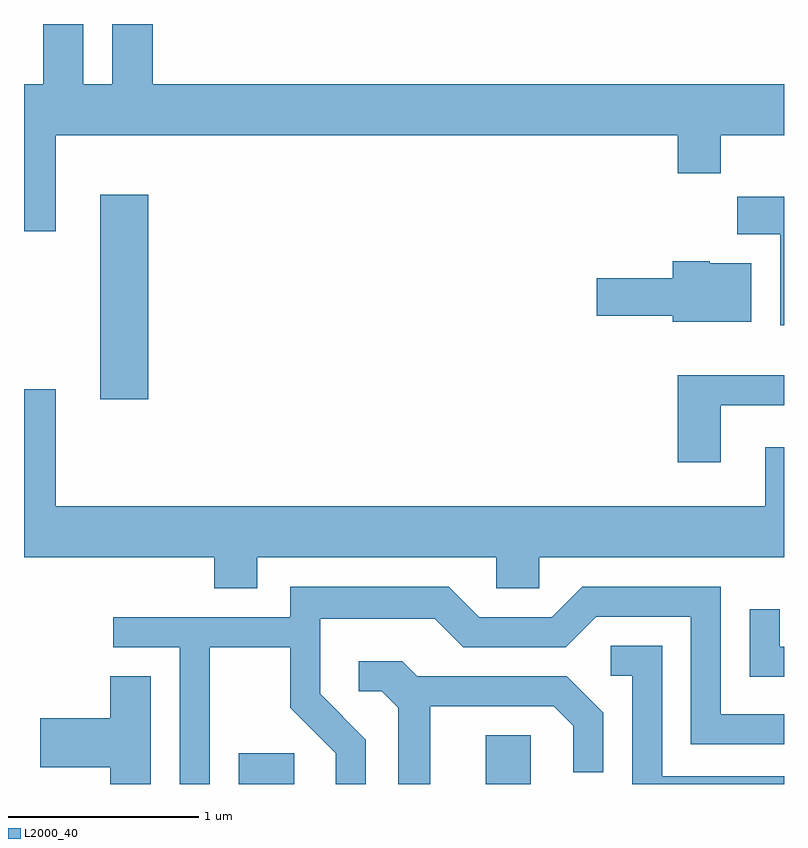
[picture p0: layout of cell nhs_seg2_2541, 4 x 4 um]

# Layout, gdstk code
import gdstk
lib = gdstk.Library(unit=1e-6, precision=1e-09)
def R(c, l, rs):  # rectangles x0, y0, x1, y1
    for r in rs: c.add(gdstk.rectangle(r[:2], r[2:], *l))
def P(c, l, *ps):  # polygons
    for p in ps: c.add(gdstk.Polygon(p, *l))
L2000_40 = (2000, 40)

nhs_seg2_2541 = lib.new_cell('nhs_seg2_2541')
R(nhs_seg2_2541, L2000_40, [(260.741,1033.802,261.034,1033.964), (262.041,1033.802,262.279,1034.059), (260.011,1035.826,260.264,1036.904)])
P(nhs_seg2_2541, L2000_40, [(259.779,1037.216),(263.051,1037.216),(263.051,1037.016),(263.279,1037.016),(263.279,1037.216),(263.611,1037.216),(263.611,1037.484),(260.289,1037.484),(260.289,1037.802),(260.076,1037.802),(260.076,1037.484),(259.924,1037.484),(259.924,1037.802),(259.711,1037.802),(259.711,1037.484),(259.611,1037.484),(259.611,1036.711),(259.779,1036.711)],
  [(263.611,1036.894),(263.366,1036.894),(263.366,1036.696),(263.591,1036.696),(263.591,1036.216),(263.611,1036.216)],
  [(263.439,1036.544),(263.22,1036.544),(263.22,1036.554),(263.026,1036.554),(263.026,1036.464),(262.626,1036.464),(262.626,1036.266),(263.026,1036.266),(263.026,1036.236),(263.439,1036.236)],
  [(263.279,1035.796),(263.611,1035.796),(263.611,1035.954),(263.051,1035.954),(263.051,1035.496),(263.279,1035.496)],
  [(260.839,1034.996),(262.096,1034.996),(262.096,1034.831),(262.324,1034.831),(262.324,1034.996),(263.611,1034.996),(263.611,1035.574),(263.511,1035.574),(263.511,1035.264),(259.779,1035.264),(259.779,1035.879),(259.611,1035.879),(259.611,1034.996),(260.611,1034.996),(260.611,1034.831),(260.839,1034.831)],
  [(260.589,1034.521),(261.011,1034.521),(261.011,1034.204),(261.251,1033.964),(261.251,1033.802),(261.409,1033.802),(261.409,1034.036),(261.169,1034.277),(261.169,1034.671),(261.774,1034.671),(261.924,1034.521),(262.462,1034.521),(262.622,1034.681),(263.121,1034.681),(263.121,1034.011),(263.611,1034.011),(263.611,1034.169),(263.279,1034.169),(263.279,1034.839),(262.549,1034.839),(262.389,1034.679),(262.007,1034.679),(261.847,1034.839),(261.011,1034.839),(261.011,1034.679),(260.082,1034.679),(260.082,1034.521),(260.431,1034.521),(260.431,1033.802),(260.589,1033.802)],
  [(263.611,1034.524),(263.589,1034.524),(263.589,1034.723),(263.431,1034.723),(263.431,1034.366),(263.611,1034.366)],
  [(263.611,1033.844),(262.969,1033.844),(262.969,1034.529),(262.698,1034.529),(262.698,1034.371),(262.811,1034.371),(262.811,1033.802),(263.611,1033.802)],
  [(261.749,1034.211),(262.399,1034.211),(262.501,1034.109),(262.501,1033.863),(262.659,1033.863),(262.659,1034.177),(262.467,1034.369),(261.682,1034.369),(261.602,1034.449),(261.373,1034.449),(261.373,1034.291),(261.493,1034.291),(261.581,1034.204),(261.581,1033.802),(261.749,1033.802)],
  [(260.279,1034.369),(260.066,1034.369),(260.066,1034.149),(259.696,1034.149),(259.696,1033.891),(260.066,1033.891),(260.066,1033.802),(260.279,1033.802)])

lib.write_gds('nhs_seg2_2541.gds')
